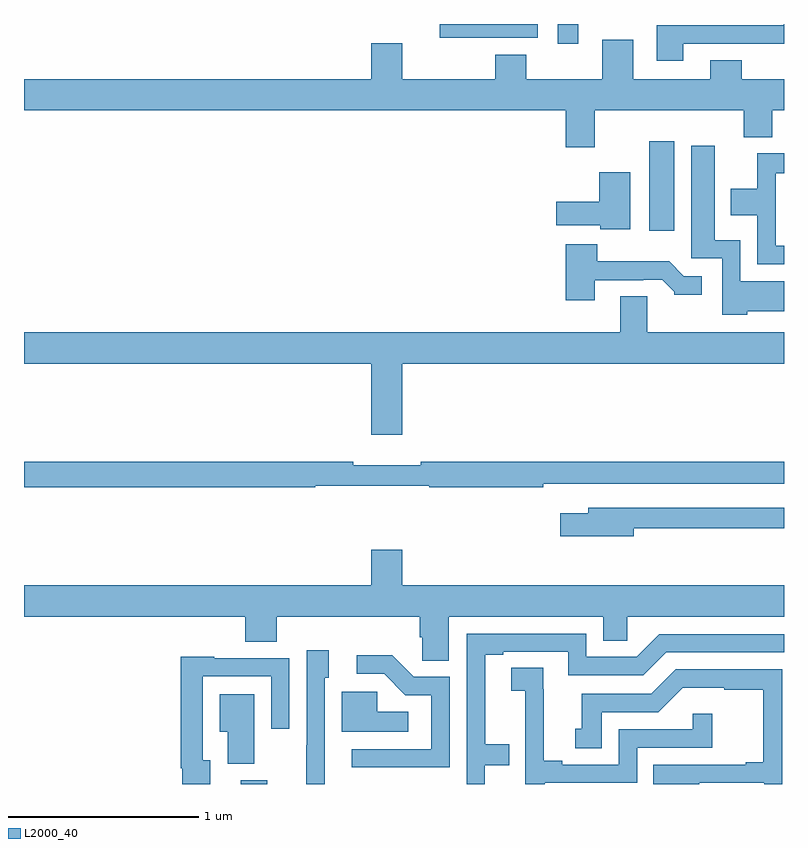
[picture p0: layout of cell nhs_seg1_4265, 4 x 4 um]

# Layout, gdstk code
import gdstk
lib = gdstk.Library(unit=1e-6, precision=1e-09)
def R(c, l, rs):  # rectangles x0, y0, x1, y1
    for r in rs: c.add(gdstk.rectangle(r[:2], r[2:], *l))
def P(c, l, *ps):  # polygons
    for p in ps: c.add(gdstk.Polygon(p, *l))
L2000_40 = (2000, 40)

nhs_seg1_4265 = lib.new_cell('nhs_seg1_4265')
R(nhs_seg1_4265, L2000_40, [(344.141,536.199,344.281,536.22), (346.292,539.112,346.423,539.581), (345.809,540.096,345.918,540.199), (345.189,540.126,345.705,540.199)])
P(nhs_seg1_4265, L2000_40, [(346.471,540.096),(346.901,540.096),(346.901,540.095),(347,540.095),(347,540.199),(346.998,540.199),(346.998,540.192),(346.331,540.192),(346.331,540.006),(346.471,540.006)],
  [(346.003,539.744),(346.787,539.744),(346.787,539.603),(346.939,539.603),(346.939,539.744),(347,539.744),(347,539.908),(346.777,539.908),(346.777,540.007),(346.613,540.007),(346.613,539.908),(346.207,539.908),(346.207,540.115),(346.043,540.115),(346.043,539.908),(345.643,539.908),(345.643,540.037),(345.479,540.037),(345.479,539.908),(344.992,539.908),(344.992,540.097),(344.828,540.097),(344.828,539.908),(343,539.908),(343,539.744),(345.851,539.744),(345.851,539.55),(346.003,539.55)],
  [(346.806,538.688),(347,538.688),(347,538.846),(346.77,538.846),(346.77,539.062),(346.636,539.062),(346.636,539.557),(346.511,539.557),(346.511,538.965),(346.674,538.965),(346.674,538.67),(346.806,538.67)],
  [(347,539.031),(346.956,539.031),(346.956,539.414),(347,539.414),(347,539.518),(346.858,539.518),(346.858,539.332),(346.721,539.332),(346.721,539.192),(346.86,539.192),(346.86,538.935),(347,538.935)],
  [(346.192,539.419),(346.028,539.419),(346.028,539.263),(345.801,539.263),(345.801,539.141),(346.032,539.141),(346.032,539.12),(346.192,539.12)],
  [(346.003,538.851),(346.259,538.851),(346.259,538.854),(346.358,538.854),(346.422,538.79),(346.422,538.775),(346.567,538.775),(346.567,538.872),(346.473,538.872),(346.395,538.951),(346.016,538.951),(346.016,539.041),(345.851,539.041),(345.851,538.746),(346.003,538.746)],
  [(344.992,538.412),(347,538.412),(347,538.576),(346.279,538.576),(346.279,538.766),(346.139,538.766),(346.139,538.576),(343,538.576),(343,538.412),(344.828,538.412),(344.828,538.038),(344.992,538.038)],
  [(344.534,537.768),(345.134,537.768),(345.134,537.76),(345.734,537.76),(345.734,537.78),(347,537.78),(347,537.896),(345.088,537.896),(345.088,537.877),(344.732,537.877),(344.732,537.896),(343,537.896),(343,537.76),(344.534,537.76)],
  [(346.21,537.546),(347,537.546),(347,537.654),(345.971,537.654),(345.971,537.625),(345.822,537.625),(345.822,537.503),(346.21,537.503)],
  [(343,537.08),(344.165,537.08),(344.165,536.947),(344.33,536.947),(344.33,537.08),(345.083,537.08),(345.083,536.971),(345.096,536.971),(345.096,536.848),(345.235,536.848),(345.235,537.08),(346.049,537.08),(346.049,536.953),(346.176,536.953),(346.176,537.08),(347,537.08),(347,537.244),(344.992,537.244),(344.992,537.433),(344.828,537.433),(344.828,537.244),(343,537.244)],
  [(345.426,536.298),(345.554,536.298),(345.554,536.407),(345.427,536.407),(345.427,536.88),(345.523,536.88),(345.523,536.895),(345.864,536.895),(345.864,536.772),(346.26,536.772),(346.38,536.892),(347,536.892),(347,536.988),(346.344,536.988),(346.224,536.868),(345.96,536.868),(345.96,536.991),(345.33,536.991),(345.33,536.199),(345.426,536.199)],
  [(344.583,536.757),(344.605,536.757),(344.605,536.902),(344.487,536.902),(344.487,536.402),(344.486,536.402),(344.486,536.199),(344.583,536.199)],
  [(345.24,536.763),(345.051,536.763),(344.938,536.876),(344.751,536.876),(344.751,536.778),(344.895,536.778),(345.006,536.667),(345.144,536.667),(345.144,536.382),(344.724,536.382),(344.724,536.286),(345.24,536.286)],
  [(343.981,536.325),(343.941,536.325),(343.941,536.766),(344.301,536.766),(344.301,536.49),(344.397,536.49),(344.397,536.862),(344.001,536.862),(344.001,536.869),(343.825,536.869),(343.825,536.281),(343.833,536.281),(343.833,536.199),(343.981,536.199)],
  [(345.74,536.205),(346.227,536.205),(346.227,536.391),(346.622,536.391),(346.622,536.569),(346.521,536.569),(346.521,536.487),(346.131,536.487),(346.131,536.301),(345.832,536.301),(345.832,536.321),(345.736,536.321),(345.736,536.699),(345.734,536.699),(345.734,536.81),(345.564,536.81),(345.564,536.689),(345.638,536.689),(345.638,536.491),(345.639,536.491),(345.639,536.199),(345.74,536.199)],
  [(346.555,536.205),(346.896,536.205),(346.896,536.199),(346.992,536.199),(346.992,536.802),(346.431,536.802),(346.302,536.673),(345.935,536.673),(345.935,536.49),(345.902,536.49),(345.902,536.386),(346.042,536.386),(346.042,536.577),(346.338,536.577),(346.466,536.705),(346.685,536.705),(346.685,536.694),(346.891,536.694),(346.891,536.314),(346.799,536.314),(346.799,536.301),(346.312,536.301),(346.312,536.199),(346.555,536.199)],
  [(345.022,536.578),(344.859,536.578),(344.859,536.685),(344.672,536.685),(344.672,536.474),(345.022,536.474)],
  [(344.212,536.671),(344.03,536.671),(344.03,536.474),(344.072,536.474),(344.072,536.305),(344.212,536.305)])

lib.write_gds('nhs_seg1_4265.gds')
